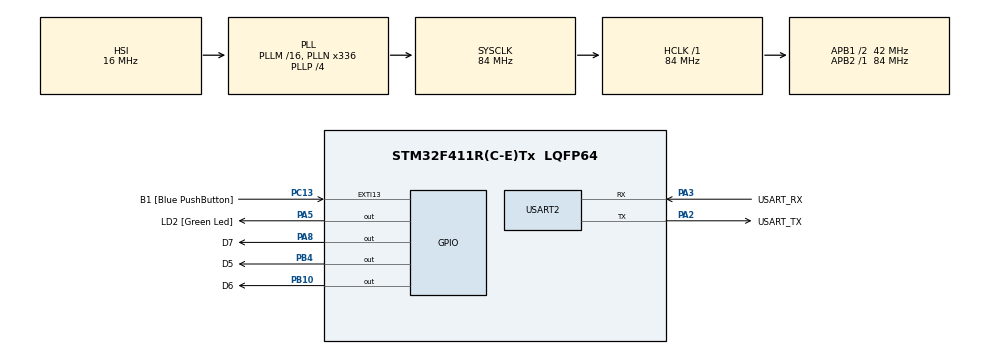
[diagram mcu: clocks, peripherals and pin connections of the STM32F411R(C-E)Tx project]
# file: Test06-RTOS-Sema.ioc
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FREERTOS.BinarySemaphores01=myBinarySem01,Dynamic,NULL
FREERTOS.Tasks01=defaultTask,0,128,StartDefaultTask,Default,NULL,Dynamic,NULL,NULL;myTask02,-1,128,StartTask02,Default,NULL,Dynamic,NULL,NULL;myTask03,-2,128,StartTask03,Default,NULL,Dynamic,NULL,NULL;myTask04,-3,128,StartTask04,Default,NULL,Dynamic,NULL,NULL
FREERTOS.configUSE_NEWLIB_REENTRANT=1
Mcu.Family=STM32F4
Mcu.Name=STM32F411R(C-E)Tx
Mcu.Package=LQFP64
NVIC.EXTI15_10_IRQn=true\:5\:0\:false\:true\:true\:1\:true\:true\:true\:true
NVIC.PriorityGroup=NVIC_PRIORITYGROUP_4
NVIC.TIM1_TRG_COM_TIM11_IRQn=true\:15\:0\:false\:false\:true\:false\:false\:true\:true
NVIC.TimeBase=TIM1_TRG_COM_TIM11_IRQn
NVIC.TimeBaseIP=TIM11
PA13.GPIO_Label=TMS
PA13.Mode=Serial_Wire
PA13.Signal=SYS_JTMS-SWDIO
PA14.GPIO_Label=TCK
PA14.Mode=Serial_Wire
PA14.Signal=SYS_JTCK-SWCLK
PA2.GPIO_Label=USART_TX
PA2.Mode=Asynchronous
PA2.Signal=USART2_TX
PA3.GPIO_Label=USART_RX
PA3.Mode=Asynchronous
PA3.Signal=USART2_RX
PA5.GPIO_Label=LD2 [Green Led]
PA5.Signal=GPIO_Output
PA8.GPIO_Label=D7
PA8.Signal=GPIO_Output
PB10.GPIO_Label=D6
PB10.Signal=GPIO_Output
PB3.GPIO_Label=SWO
PB3.Signal=SYS_JTDO-SWO
PB4.GPIO_Label=D5
PB4.Signal=GPIO_Output
PC13-ANTI_TAMP.GPIO_Label=B1 [Blue PushButton]
PC13-ANTI_TAMP.GPIO_ModeDefaultEXTI=GPIO_MODE_IT_FALLING
PC13-ANTI_TAMP.Signal=GPXTI13
PC14-OSC32_IN.Mode=LSE-External-Oscillator
PC14-OSC32_IN.Signal=RCC_OSC32_IN
PC15-OSC32_OUT.Mode=LSE-External-Oscillator
PC15-OSC32_OUT.Signal=RCC_OSC32_OUT
PH0\ -\ OSC_IN.Mode=HSE-External-Clock-Source
PH0\ -\ OSC_IN.Signal=RCC_OSC_IN
PH1\ -\ OSC_OUT.Mode=HSE-External-Clock-Source
PH1\ -\ OSC_OUT.Signal=RCC_OSC_OUT
ProjectManager.HeapSize=0x200
ProjectManager.StackSize=0x400
ProjectManager.TargetToolchain=STM32CubeIDE
RCC.48MHZClocksFreq_Value=84000000
RCC.AHBFreq_Value=84000000
RCC.APB1CLKDivider=RCC_HCLK_DIV2
RCC.APB1Freq_Value=42000000
RCC.APB1TimFreq_Value=84000000
RCC.APB2Freq_Value=84000000
RCC.APB2TimFreq_Value=84000000
RCC.CortexFreq_Value=84000000
RCC.FLatency-AdvancedSettings=FLASH_LATENCY_2
RCC.HCLKFreq_Value=84000000
RCC.HSE_VALUE=8000000
RCC.HSI_VALUE=16000000
RCC.PLLN=336
RCC.PLLP=RCC_PLLP_DIV4
RCC.SYSCLKFreq_VALUE=84000000
RCC.SYSCLKSource=RCC_SYSCLKSOURCE_PLLCLK
RCC.VCOOutputFreq_Value=336000000
USART2.VirtualMode=VM_ASYNC
VP_FREERTOS_VS_CMSIS_V1.Mode=CMSIS_V1
VP_SYS_VS_tim11.Mode=TIM11
board=NUCLEO-F411RE

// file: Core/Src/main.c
/* USER CODE BEGIN Header */
/**
  ******************************************************************************
  * @file           : main.c
  * @brief          : Main program body
  ******************************************************************************
  * @attention
  *
  * Copyright (c) 2023 STMicroelectronics.
  * All rights reserved.
  *
  * This software is licensed under terms that can be found in the LICENSE file
  * in the root directory of this software component.
  * If no LICENSE file comes with this software, it is provided AS-IS.
  *
  ******************************************************************************
  */
/* USER CODE END Header */
#include "main.h"
#include "cmsis_os.h"

UART_HandleTypeDef huart2;

osThreadId defaultTaskHandle;
osThreadId myTask02Handle;
osThreadId myTask03Handle;
osThreadId myTask04Handle;
osSemaphoreId myBinarySem01Handle;
/* USER CODE BEGIN PV */
#include "..\\..\\..\\Lib\\MyLib.c"
/* USER CODE END PV */

void SystemClock_Config(void);
static void MX_GPIO_Init(void);
static void MX_USART2_UART_Init(void);
void StartDefaultTask(void const * argument);
void StartTask02(void const * argument);
void StartTask03(void const * argument);
void StartTask04(void const * argument);

static void MX_NVIC_Init(void);

/* USER CODE BEGIN 0 */
void HAL_GPIO_EXTI_Callback(uint16_t GPIO_Pin)
{
	if(GPIO_Pin == B1_Pin)
	{
		osSemaphoreRelease(myBinarySem01Handle);
	}
}

/* USER CODE END 0 */

int main(void)
{

  /* MCU Configuration--------------------------------------------------------*/

  /* Reset of all peripherals, Initializes the Flash interface and the Systick. */
  HAL_Init();

  /* Configure the system clock */
  SystemClock_Config();

  /* Initialize all configured peripherals */
  MX_GPIO_Init();
  MX_USART2_UART_Init();

  /* Initialize interrupts */
  MX_NVIC_Init();

  /* Create the semaphores(s) */
  /* definition and creation of myBinarySem01 */
  osSemaphoreDef(myBinarySem01);
  myBinarySem01Handle = osSemaphoreCreate(osSemaphore(myBinarySem01), 1);

  /* Create the thread(s) */
  /* definition and creation of defaultTask */
  osThreadDef(defaultTask, StartDefaultTask, osPriorityNormal, 0, 128);
  defaultTaskHandle = osThreadCreate(osThread(defaultTask), NULL);

  /* definition and creation of myTask02 */
  osThreadDef(myTask02, StartTask02, osPriorityBelowNormal, 0, 128);
  myTask02Handle = osThreadCreate(osThread(myTask02), NULL);

  /* definition and creation of myTask03 */
  osThreadDef(myTask03, StartTask03, osPriorityLow, 0, 128);
  myTask03Handle = osThreadCreate(osThread(myTask03), NULL);

  /* definition and creation of myTask04 */
  osThreadDef(myTask04, StartTask04, osPriorityIdle, 0, 128);
  myTask04Handle = osThreadCreate(osThread(myTask04), NULL);

  /* USER CODE BEGIN RTOS_THREADS */
  /* add threads, ... */
  printf("\033[1JRTOS using Semaphore Program Started...\r\n");
  printf("Press B1 button to start action.\r\n");
  while(osSemaphoreWait(myBinarySem01Handle, 0) == osOK);

  /* USER CODE END RTOS_THREADS */

  /* Start scheduler */
  osKernelStart();

  /* We should never get here as control is now taken by the scheduler */
  /* Infinite loop */
  while (1)
  {

  }
}

void SystemClock_Config(void)
{
  RCC_OscInitTypeDef RCC_OscInitStruct = {0};
  RCC_ClkInitTypeDef RCC_ClkInitStruct = {0};

  /** Configure the main internal regulator output voltage
  */
  __HAL_RCC_PWR_CLK_ENABLE();
  __HAL_PWR_VOLTAGESCALING_CONFIG(PWR_REGULATOR_VOLTAGE_SCALE1);

  /** Initializes the RCC Oscillators according to the specified parameters
  * in the RCC_OscInitTypeDef structure.
  */
  RCC_OscInitStruct.OscillatorType = RCC_OSCILLATORTYPE_HSI;
  RCC_OscInitStruct.HSIState = RCC_HSI_ON;
  RCC_OscInitStruct.HSICalibrationValue = RCC_HSICALIBRATION_DEFAULT;
  RCC_OscInitStruct.PLL.PLLState = RCC_PLL_ON;
  RCC_OscInitStruct.PLL.PLLSource = RCC_PLLSOURCE_HSI;
  RCC_OscInitStruct.PLL.PLLM = 16;
  RCC_OscInitStruct.PLL.PLLN = 336;
  RCC_OscInitStruct.PLL.PLLP = RCC_PLLP_DIV4;
  RCC_OscInitStruct.PLL.PLLQ = 4;
  if (HAL_RCC_OscConfig(&RCC_OscInitStruct) != HAL_OK)
  {
    Error_Handler();
  }

  /** Initializes the CPU, AHB and APB buses clocks
  */
  RCC_ClkInitStruct.ClockType = RCC_CLOCKTYPE_HCLK|RCC_CLOCKTYPE_SYSCLK
                              |RCC_CLOCKTYPE_PCLK1|RCC_CLOCKTYPE_PCLK2;
  RCC_ClkInitStruct.SYSCLKSource = RCC_SYSCLKSOURCE_PLLCLK;
  RCC_ClkInitStruct.AHBCLKDivider = RCC_SYSCLK_DIV1;
  RCC_ClkInitStruct.APB1CLKDivider = RCC_HCLK_DIV2;
  RCC_ClkInitStruct.APB2CLKDivider = RCC_HCLK_DIV1;

  if (HAL_RCC_ClockConfig(&RCC_ClkInitStruct, FLASH_LATENCY_2) != HAL_OK)
  {
    Error_Handler();
  }
}

/**
  * @brief NVIC Configuration.
  * @retval None
  */
static void MX_NVIC_Init(void)
{
  /* EXTI15_10_IRQn interrupt configuration */
  HAL_NVIC_SetPriority(EXTI15_10_IRQn, 5, 0);
  HAL_NVIC_EnableIRQ(EXTI15_10_IRQn);
}

static void MX_USART2_UART_Init(void)
{

  huart2.Instance = USART2;
  huart2.Init.BaudRate = 115200;
  huart2.Init.WordLength = UART_WORDLENGTH_8B;
  huart2.Init.StopBits = UART_STOPBITS_1;
  huart2.Init.Parity = UART_PARITY_NONE;
  huart2.Init.Mode = UART_MODE_TX_RX;
  huart2.Init.HwFlowCtl = UART_HWCONTROL_NONE;
  huart2.Init.OverSampling = UART_OVERSAMPLING_16;
  if (HAL_UART_Init(&huart2) != HAL_OK)
  {
    Error_Handler();
  }

}

static void MX_GPIO_Init(void)
{
  GPIO_InitTypeDef GPIO_InitStruct = {0};

  /* GPIO Ports Clock Enable */
  __HAL_RCC_GPIOC_CLK_ENABLE();
  __HAL_RCC_GPIOH_CLK_ENABLE();
  __HAL_RCC_GPIOA_CLK_ENABLE();
  __HAL_RCC_GPIOB_CLK_ENABLE();

  /*Configure GPIO pin Output Level */
  HAL_GPIO_WritePin(GPIOA, LD2_Pin|D7_Pin, GPIO_PIN_RESET);

  /*Configure GPIO pin Output Level */
  HAL_GPIO_WritePin(GPIOB, D6_Pin|D5_Pin, GPIO_PIN_RESET);

  /*Configure GPIO pin : B1_Pin */
  GPIO_InitStruct.Pin = B1_Pin;
  GPIO_InitStruct.Mode = GPIO_MODE_IT_FALLING;
  GPIO_InitStruct.Pull = GPIO_NOPULL;
  HAL_GPIO_Init(B1_GPIO_Port, &GPIO_InitStruct);

  /*Configure GPIO pins : LD2_Pin D7_Pin */
  GPIO_InitStruct.Pin = LD2_Pin|D7_Pin;
  GPIO_InitStruct.Mode = GPIO_MODE_OUTPUT_PP;
  GPIO_InitStruct.Pull = GPIO_NOPULL;
  GPIO_InitStruct.Speed = GPIO_SPEED_FREQ_LOW;
  HAL_GPIO_Init(GPIOA, &GPIO_InitStruct);

  /*Configure GPIO pins : D6_Pin D5_Pin */
  GPIO_InitStruct.Pin = D6_Pin|D5_Pin;
  GPIO_InitStruct.Mode = GPIO_MODE_OUTPUT_PP;
  GPIO_InitStruct.Pull = GPIO_NOPULL;
  GPIO_InitStruct.Speed = GPIO_SPEED_FREQ_LOW;
  HAL_GPIO_Init(GPIOB, &GPIO_InitStruct);

}

void StartDefaultTask(void const * argument)
{
  /* USER CODE BEGIN 5 */
  /* Infinite loop */
  for(;;)
  {
	  if(osSemaphoreWait(myBinarySem01Handle, 0) == osOK)
	  {
		  printf("in Task [DefaultTask]\r\n");
		  HAL_GPIO_WritePin(LD2_GPIO_Port, LD2_Pin, 1); HAL_Delay(500);
		  HAL_GPIO_WritePin(LD2_GPIO_Port, LD2_Pin, 0); HAL_Delay(500);
		  osSemaphoreRelease(myBinarySem01Handle);
	  }
	  osDelay(1);
  }
  /* USER CODE END 5 */
}

void StartTask02(void const * argument)
{
  /* USER CODE BEGIN StartTask02 */
  /* Infinite loop */
  for(;;)
  {
	  if(osSemaphoreWait(myBinarySem01Handle, 0) == osOK)
	  {
		  printf("in Task [Task02]\r\n");
		  HAL_GPIO_WritePin(D5_GPIO_Port, D5_Pin, 1); HAL_Delay(100);
		  HAL_GPIO_WritePin(D5_GPIO_Port, D5_Pin, 0); HAL_Delay(100);
		  osSemaphoreRelease(myBinarySem01Handle);
	  }
	  osDelay(1);
  }
  /* USER CODE END StartTask02 */
}

void StartTask03(void const * argument)
{
  /* USER CODE BEGIN StartTask03 */
  /* Infinite loop */
  for(;;)
  {
	  if(osSemaphoreWait(myBinarySem01Handle, 0) == osOK)
	  {
		  printf("in Task [Task03]\r\n");
		  HAL_GPIO_WritePin(D6_GPIO_Port, D6_Pin, 1); HAL_Delay(100);
		  HAL_GPIO_WritePin(D6_GPIO_Port, D6_Pin, 0); HAL_Delay(100);
		  osSemaphoreRelease(myBinarySem01Handle);
	  }
	  osDelay(1);
  }
  /* USER CODE END StartTask03 */
}

void StartTask04(void const * argument)
{
  /* USER CODE BEGIN StartTask04 */
  /* Infinite loop */
  for(;;)
  {
	  if(osSemaphoreWait(myBinarySem01Handle, 0) == osOK)
	  {
		  printf("in Task [Task04]\r\n");
		  HAL_GPIO_WritePin(D7_GPIO_Port, D7_Pin, 1); HAL_Delay(300z);
		  HAL_GPIO_WritePin(D7_GPIO_Port, D7_Pin, 0); HAL_Delay(300);
		  osSemaphoreRelease(myBinarySem01Handle);
	  }
	  osDelay(1);
  }
  /* USER CODE END StartTask04 */
}

void HAL_TIM_PeriodElapsedCallback(TIM_HandleTypeDef *htim)
{
  if (htim->Instance == TIM11) {
    HAL_IncTick();
  }
}

void Error_Handler(void)
{
  __disable_irq();
  while (1)
  {
  }
}
